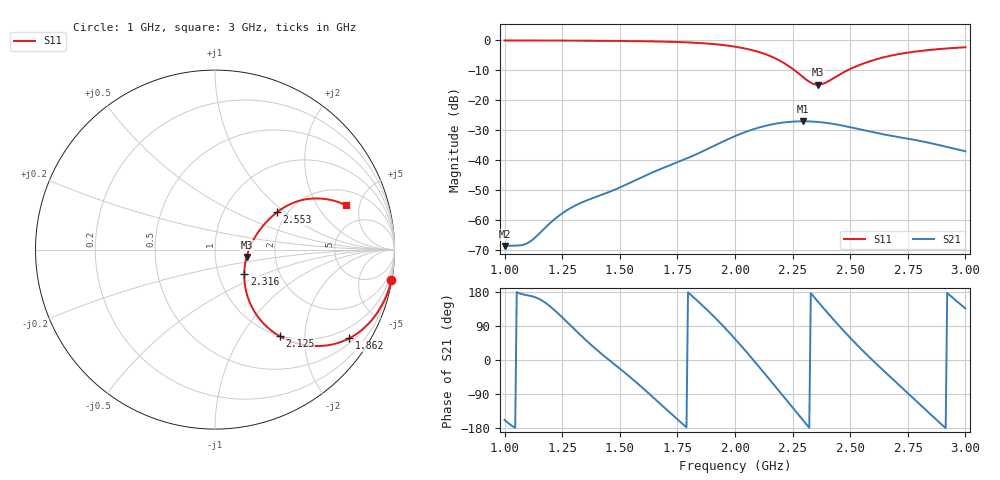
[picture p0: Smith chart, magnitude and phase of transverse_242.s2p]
! TOUCHSTONE file generated by CST MICROWAVE STUDIO
! Date and time: Tue Mar 11 13:57:59 2025
! Project name: transverse.cst
! Parameters = {Fracture=5; B=10; D=160; F=25; Feed=2.85625; L=100; M=10; R=0.384908; S=1; Theta=270; length=57.125; wave=114.25}
! Header version: 2024
! Port assignment regex: !\s*Touchstone port\s*([0-9]+)\s*=\s*(CST MWS port|CST DES external port|CST DES block port)\s*(.+)\s* \(\"(.*)\"\)(\s*mode\s*([0-9]+))?.*
! Touchstone port assignment:
! Touchstone port 1 = CST MWS port 1 ("")
! Touchstone port 2 = CST MWS port 2 ("")
# GHz S MA R 50
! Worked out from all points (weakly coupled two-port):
!   305 points, 1 GHz to 3 GHz, reference 50 ohm
!   highest |S21| = -27.06 dB at 2.296 GHz (marker M1); lowest = -68.8 dB at 1 GHz (marker M2)
!   lowest |S11| = -14.9 dB at 2.362 GHz (marker M3), VSWR 1.44, Z = 71.1 - j6.01 ohm
!   |S11| at or under -10 dB: 2.258 GHz to 2.488 GHz (229.9 MHz wide, 9.69 % of centre)
!   S12 and S22 are empty: the file has one direction only
!   S11 on the Smith chart (normalised r, x): 1 GHz: 0, -12; 1.862 GHz: 0.64, -3.21; 2.125 GHz: 0.99, -1.50; 2.316 GHz: 1.33, -0.37; 2.553 GHz: 1.78, +0.89; 3 GHz: 3.03, +3.65
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1  0.9976 -9.8  0.0003617 -158.2  0 0.0  0 0.0
1.07237  0.9969 -10.7  0.0003757 174.4  0 0.0  0 0.0
1.10526  0.9964 -11.2  0.0004194 170.0  0 0.0  0 0.0
1.23684  0.9929 -13.3  0.001177 120.2  0 0.0  0 0.0
1.33553  0.9894 -15.2  0.001953 62.3  0 0.0  0 0.0
1.48026  0.9803 -18.4  0.003211 -13.2  0 0.0  0 0.0
1.67105  0.9577 -24.2  0.006912 -113.2  0 0.0  0 0.0
1.86184  0.8965 -33.5  0.01409 142.1  0 0.0  0 0.0
2  0.7851 -43.2  0.02505 55.7  0 0.0  0 0.0
2.06579  0.6999 -48.5  0.03135 9.9  0 0.0  0 0.0
2.125  0.601 -53.3  0.03666 -33.0  0 0.0  0 0.0
2.21053  0.423 -57.6  0.04233 -96.3  0 0.0  0 0.0
2.29605  0.2419 -47.2  0.04435 -159.6  0 0.0  0 0.0
2.31579  0.2113 -39.6  0.04424 -174.1  0 0.0  0 0.0
2.33553  0.1903 -29.3  0.04391 171.6  0 0.0  0 0.0
2.36184  0.1807 -13.1  0.04317 152.6  0 0.0  0 0.0
2.39474  0.1974 5.3  0.04179 129.3  0 0.0  0 0.0
2.45395  0.2686 23.2  0.0384 88.7  0 0.0  0 0.0
2.55263  0.4043 31.1  0.03183 25.8  0 0.0  0 0.0
2.67105  0.5499 29.9  0.02565 -42.9  0 0.0  0 0.0
2.82895  0.6822 24.3  0.01988 -132.6  0 0.0  0 0.0
3  0.7681 18.7  0.01397 136.0  0 0.0  0 0.0
